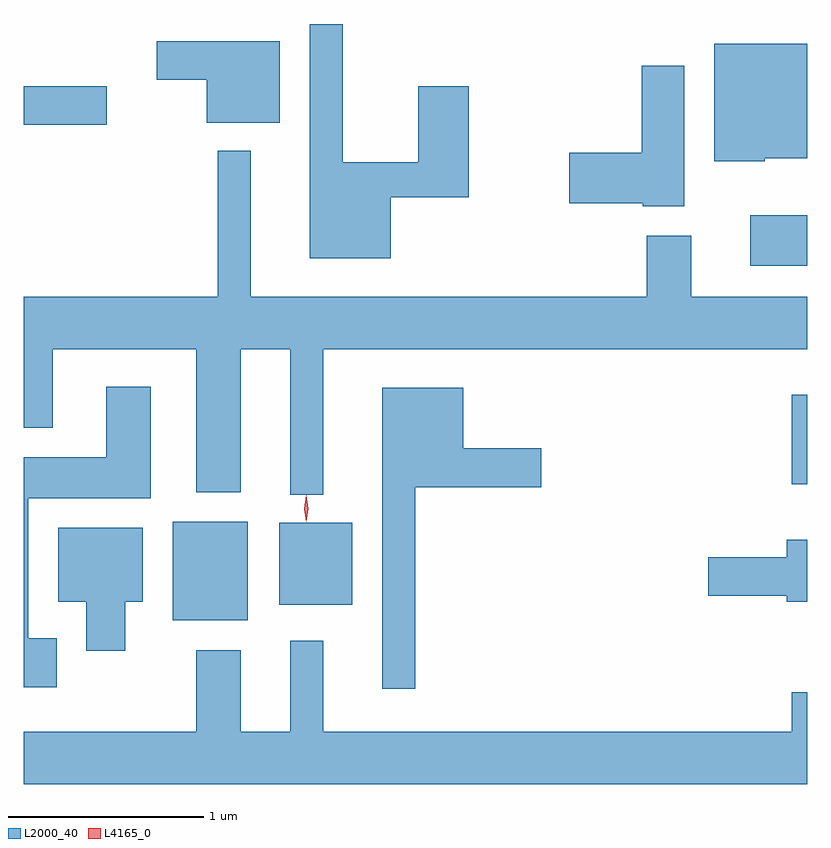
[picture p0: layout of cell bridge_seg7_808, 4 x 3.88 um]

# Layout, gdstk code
import gdstk
lib = gdstk.Library(unit=1e-6, precision=1e-09)
def R(c, l, rs):  # rectangles x0, y0, x1, y1
    for r in rs: c.add(gdstk.rectangle(r[:2], r[2:], *l))
def P(c, l, *ps):  # polygons
    for p in ps: c.add(gdstk.Polygon(p, *l))
L2000_40 = (2000, 40)
L4165_0 = (4165, 0)

bridge_seg7_808 = lib.new_cell('bridge_seg7_808')
R(bridge_seg7_808, L2000_40, [(248.421,1739.571,248.804,1740.074), (248.966,1739.651,249.339,1740.069), (251.581,1740.266,251.661,1740.724), (251.371,1741.381,251.661,1741.639), (247.661,1742.101,248.084,1742.299)])
P(bridge_seg7_808, L2000_40, [(249.534,1741.731),(249.934,1741.731),(249.934,1742.299),(249.676,1742.299),(249.676,1741.909),(249.289,1741.909),(249.289,1742.616),(249.121,1742.616),(249.121,1741.421),(249.534,1741.421)],
  [(248.969,1742.529),(248.341,1742.529),(248.341,1742.331),(248.596,1742.331),(248.596,1742.111),(248.969,1742.111)],
  [(251.445,1741.931),(251.661,1741.931),(251.661,1742.514),(251.186,1742.514),(251.186,1741.916),(251.445,1741.916)],
  [(251.034,1742.404),(250.816,1742.404),(250.816,1741.959),(250.446,1741.959),(250.446,1741.701),(250.82,1741.701),(250.82,1741.686),(251.034,1741.686)],
  [(249.189,1740.956),(251.661,1740.956),(251.661,1741.224),(251.069,1741.224),(251.069,1741.534),(250.841,1741.534),(250.841,1741.224),(248.819,1741.224),(248.819,1741.968),(248.651,1741.968),(248.651,1741.224),(247.661,1741.224),(247.661,1740.556),(247.809,1740.556),(247.809,1740.956),(248.541,1740.956),(248.541,1740.226),(248.769,1740.226),(248.769,1740.956),(249.021,1740.956),(249.021,1740.213),(249.189,1740.213)],
  [(247.829,1739.479),(247.684,1739.479),(247.684,1740.196),(248.309,1740.196),(248.309,1740.764),(248.081,1740.764),(248.081,1740.404),(247.661,1740.404),(247.661,1739.231),(247.829,1739.231)],
  [(249.659,1740.251),(250.304,1740.251),(250.304,1740.449),(249.904,1740.449),(249.904,1740.759),(249.491,1740.759),(249.491,1739.223),(249.659,1739.223)],
  [(248.179,1739.666),(248.269,1739.666),(248.269,1740.044),(247.836,1740.044),(247.836,1739.666),(247.981,1739.666),(247.981,1739.416),(248.179,1739.416)],
  [(251.661,1739.984),(251.556,1739.984),(251.556,1739.894),(251.156,1739.894),(251.156,1739.696),(251.556,1739.696),(251.556,1739.666),(251.661,1739.666)],
  [(251.661,1739.204),(251.581,1739.204),(251.581,1739.004),(249.189,1739.004),(249.189,1739.468),(249.021,1739.468),(249.021,1739.004),(248.769,1739.004),(248.769,1739.419),(248.541,1739.419),(248.541,1739.004),(247.661,1739.004),(247.661,1738.736),(251.661,1738.736)])
P(bridge_seg7_808, L4165_0, [(249.103,1740.074),(249.094,1740.142),(249.103,1740.21),(249.104,1740.21),(249.104,1740.21),(249.114,1740.142),(249.104,1740.074),(249.104,1740.074)],
  [(249.102,1740.078),(249.102,1740.078),(249.092,1740.142),(249.102,1740.207),(249.102,1740.207),(249.103,1740.207),(249.112,1740.142),(249.103,1740.078)])

lib.write_gds('bridge_seg7_808.gds')
